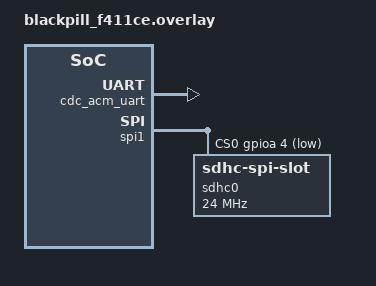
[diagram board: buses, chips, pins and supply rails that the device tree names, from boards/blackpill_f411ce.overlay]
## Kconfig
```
# ESC (Electronic Speed Controller) demo configuration

mainmenu "Eurus Flight Controller - SD Card demo"


source "Kconfig.zephyr"
```

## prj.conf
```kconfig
# 
# This file is part of the efc project <https://github.com/eurus-project/efc/>.
# Copyright (c) 2024 The efc developers.
# 
# This program is free software: you can redistribute it and/or modify
# it under the terms of the GNU General Public License as published by
# the Free Software Foundation, version 3.
# 
# This program is distributed in the hope that it will be useful, but
# WITHOUT ANY WARRANTY; without even the implied warranty of
# MERCHANTABILITY or FITNESS FOR A PARTICULAR PURPOSE. See the GNU
# General Public License for more details.
# 
# You should have received a copy of the GNU General Public License
# along with this program. If not, see <http://www.gnu.org/licenses/>.
#

CONFIG_GPIO=y
CONFIG_SERIAL=y
CONFIG_CONSOLE=y
CONFIG_USB_DEVICE_STACK=y

CONFIG_DEBUG=y

CONFIG_STM32_FLASH_PREFETCH=y
CONFIG_FPU=y
CONFIG_SPI=y
CONFIG_SPI_STM32=y

CONFIG_DISK_ACCESS=y
CONFIG_DISK_DRIVERS=y
CONFIG_DISK_DRIVER_SDMMC=y

CONFIG_FILE_SYSTEM=y
CONFIG_FILE_SYSTEM_SHELL=y
CONFIG_FILE_SYSTEM_LITTLEFS=y

CONFIG_FS_LITTLEFS_BLK_DEV=y
CONFIG_FS_LITTLEFS_FMP_DEV=n
CONFIG_FS_LITTLEFS_FC_HEAP_SIZE=8192
CONFIG_FS_LITTLEFS_READ_SIZE=512
CONFIG_FS_LITTLEFS_PROG_SIZE=512
CONFIG_FS_LITTLEFS_CACHE_SIZE=512
CONFIG_FS_LITTLEFS_LOOKAHEAD_SIZE=2048
CONFIG_FS_LITTLEFS_BLOCK_CYCLES=-1

CONFIG_MAIN_STACK_SIZE=4096

CONFIG_LOG=y
CONFIG_DEBUG_COREDUMP=y
CONFIG_DEBUG_COREDUMP_BACKEND_LOGGING=y

CONFIG_CBPRINTF_FP_SUPPORT=y

CONFIG_INPUT=y

CONFIG_SHELL=y
CONFIG_SHELL_LOG_BACKEND=y
```

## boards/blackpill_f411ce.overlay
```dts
/*
 * This file is part of the efc project <https://github.com/eurus-project/efc/>.
 * Copyright (c) 2024 The efc developers.
 *
 * This program is free software: you can redistribute it and/or modify
 * it under the terms of the GNU General Public License as published by
 * the Free Software Foundation, version 3.
 *
 * This program is distributed in the hope that it will be useful, but
 * WITHOUT ANY WARRANTY; without even the implied warranty of
 * MERCHANTABILITY or FITNESS FOR A PARTICULAR PURPOSE. See the GNU
 * General Public License for more details.
 *
 * You should have received a copy of the GNU General Public License
 * along with this program. If not, see <http://www.gnu.org/licenses/>.
 */

#include <zephyr/dt-bindings/sensor/icm42688.h>

/ {
	chosen {
		zephyr,console = &cdc_acm_uart;
		zephyr,shell-uart = &cdc_acm_uart;
	};
};

&zephyr_udc0 {
	cdc_acm_uart: cdc_acm_uart0 {
		compatible = "zephyr,cdc-acm-uart";
	};
};

&spi1 {
    cs-gpios = <&gpioa 4 GPIO_ACTIVE_LOW>;

	sdhc0: sdhc@0 {
                compatible = "zephyr,sdhc-spi-slot";
                reg = <0>;
                status = "okay";
                mmc {
                    compatible = "zephyr,sdmmc-disk";
                    disk-name = "SD";
                    status = "okay";
                };
                spi-max-frequency = <24000000>;
        };
};
```

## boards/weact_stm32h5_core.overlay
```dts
/*
 * This file is part of the efc project <https://github.com/eurus-project/efc/>.
 * Copyright (c) 2024 The efc developers.
 *
 * This program is free software: you can redistribute it and/or modify
 * it under the terms of the GNU General Public License as published by
 * the Free Software Foundation, version 3.
 *
 * This program is distributed in the hope that it will be useful, but
 * WITHOUT ANY WARRANTY; without even the implied warranty of
 * MERCHANTABILITY or FITNESS FOR A PARTICULAR PURPOSE. See the GNU
 * General Public License for more details.
 *
 * You should have received a copy of the GNU General Public License
 * along with this program. If not, see <http://www.gnu.org/licenses/>.
 */

#include <zephyr/dt-bindings/sensor/icm42688.h>

/ {
	chosen {
		zephyr,console = &cdc_acm_uart;
        zephyr,shell-uart = &cdc_acm_uart;
	};
};

&pll {
	div-q = <6>;
};

&zephyr_udc0 {
	cdc_acm_uart: cdc_acm_uart0 {
		compatible = "zephyr,cdc-acm-uart";
	};
};

&spi1 {
    status = "okay";
    cs-gpios = <&gpioa 4 GPIO_ACTIVE_LOW>;

	sdhc0: sdhc@0 {
                compatible = "zephyr,sdhc-spi-slot";
                reg = <0>;
                status = "okay";
                mmc {
                    compatible = "zephyr,sdmmc-disk";
                    disk-name = "SD_SPI";
                    status = "okay";
                };
                spi-max-frequency = <24000000>;
        };
};

&clk_hsi48 {
    status = "okay";
};
```

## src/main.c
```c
/*
 * This file is part of the efc project <https://github.com/eurus-project/efc/>.
 * Copyright (c) 2024 - 2025 The efc developers.
 *
 * This program is free software: you can redistribute it and/or modify
 * it under the terms of the GNU General Public License as published by
 * the Free Software Foundation, version 3.
 *
 * This program is distributed in the hope that it will be useful, but
 * WITHOUT ANY WARRANTY; without even the implied warranty of
 * MERCHANTABILITY or FITNESS FOR A PARTICULAR PURPOSE. See the GNU
 * General Public License for more details.
 *
 * You should have received a copy of the GNU General Public License
 * along with this program. If not, see <http://www.gnu.org/licenses/>.
 */

#include <math.h>
#include <stdio.h>
#include <zephyr/device.h>
#include <zephyr/drivers/gpio.h>
#include <zephyr/fs/fs.h>
#include <zephyr/fs/littlefs.h>
#include <zephyr/kernel.h>
#include <zephyr/logging/log.h>
#include <zephyr/usb/usb_device.h>
#include <zephyr/usb/usbd.h>

LOG_MODULE_REGISTER(main, LOG_LEVEL_INF);

// This LED simply blinks at an interval, indicating visually that the firmware
// is running If anything causes the whole firmware to abort, it will be
// apparent without looking at log output or hooking up a debugger.
static const struct gpio_dt_spec fw_running_led =
    GPIO_DT_SPEC_GET(DT_ALIAS(led0), gpios);

static struct fs_littlefs main_fs;

struct fs_mount_t main_fs_mount = {
    .type = FS_LITTLEFS,
    .fs_data = &main_fs,
    .flags = FS_MOUNT_FLAG_USE_DISK_ACCESS,
    .storage_dev = "SD_SPI",
    .mnt_point = "/SD:",
};

int32_t boot_count = -1;

#if defined(CONFIG_USB_DEVICE_STACK_NEXT)
static struct usbd_context *sample_usbd;

static int enable_usb_device_next(void) {
    int err;

    sample_usbd = sample_usbd_init_device(NULL);
    if (sample_usbd == NULL) {
        return -ENODEV;
    }

    err = usbd_enable(sample_usbd);
    if (err) {
        return err;
    }

    return 0;
}
#endif /* defined(CONFIG_USB_DEVICE_STACK_NEXT) */

static int update_boot_count(void) {
    struct fs_file_t boot_count_file;
    fs_file_t_init(&boot_count_file);

    char filename[LFS_NAME_MAX];
    snprintf(filename, sizeof(filename), "%s/boot_count",
             main_fs_mount.mnt_point);
    int ret = fs_open(&boot_count_file, filename, FS_O_RDWR | FS_O_CREATE);
    if (ret < 0) {
        LOG_ERR("Could not open file!\n");
        return ret;
    }

    ret = fs_read(&boot_count_file, &boot_count, sizeof(boot_count));
    if (ret < 0) {
        LOG_ERR("Could not read from file!\n");
        return ret;
    }

    LOG_INF("Boot count: %d\n", (int)boot_count);

    ret = fs_seek(&boot_count_file, 0, FS_SEEK_SET);
    if (ret < 0) {
        LOG_ERR("Could not seek to beggining of the file!\n");
        return ret;
    }

    boot_count += 1;
    ret = fs_write(&boot_count_file, &boot_count, sizeof(boot_count));
    if (ret < 0) {
        LOG_ERR("Could not write to file!\n");
        return ret;
    }

    ret = fs_close(&boot_count_file);
    if (ret < 0) {
        LOG_ERR("Could not close file!\n");
        return ret;
    }

    return 0;
}

static int create_demo_file(void) {
    struct fs_file_t demo_file;
    const char demo_data[] = "This is a demo test message from EFC";

    fs_file_t_init(&demo_file);

    char filename[LFS_NAME_MAX];
    snprintf(filename, sizeof(filename), "%s/demo_file.txt",
             main_fs_mount.mnt_point);

    int ret = fs_open(&demo_file, filename, FS_O_RDWR | FS_O_CREATE);
    if (ret < 0) {
        LOG_ERR("Could not open file!\n");
        return ret;
    }

    ret = fs_write(&demo_file, &demo_data, sizeof(demo_data));
    if (ret < 0) {
        LOG_ERR("Could not write to file!\n");
        return ret;
    }

    ret = fs_close(&demo_file);
    if (ret < 0) {
        LOG_ERR("Could not close file!\n");
        return ret;
    }

    return 0;
}

int main(void) {
    if (DT_NODE_HAS_COMPAT(DT_CHOSEN(zephyr_console), zephyr_cdc_acm_uart)) {
#if defined(CONFIG_USB_DEVICE_STACK_NEXT)
        if (enable_usb_device_next()) {
            return 0;
        }
#else
        if (usb_enable(NULL)) {
            return 0;
        }
#endif
    }

    if (!gpio_is_ready_dt(&fw_running_led)) {
        LOG_ERR("The firmware running LED is not ready");
        return 0;
    }

    int ret;
    ret = gpio_pin_configure_dt(&fw_running_led, GPIO_OUTPUT_ACTIVE);
    if (ret < 0) {
        LOG_ERR("Could not configure the firmware running LED as output");
        return 0;
    }

    ret = fs_mount(&main_fs_mount);
    if (ret < 0) {
        LOG_ERR("Could not mount filesystem!\n");
    }

    ret = update_boot_count();
    if (ret < 0) {
        LOG_ERR("Could not update boot count!");
    }

    ret = create_demo_file();
    if (ret < 0) {
        LOG_ERR("Could not create demo file!");
    }

    while (1) {
        ret = gpio_pin_toggle_dt(&fw_running_led);
        if (ret < 0) {
            LOG_ERR("Could not toggle the firmware running LED");
            return 0;
        }

        k_msleep(1000);
    }

    return 0;
}
```
